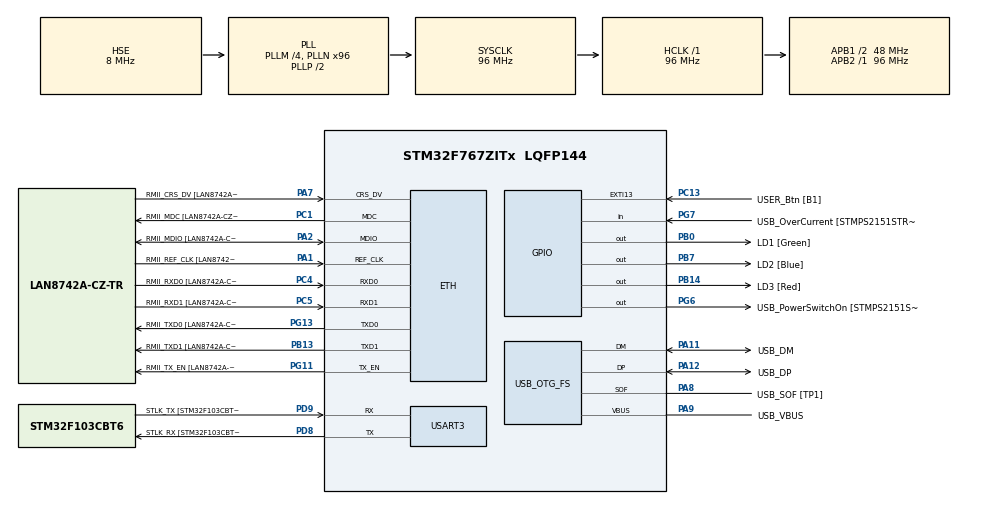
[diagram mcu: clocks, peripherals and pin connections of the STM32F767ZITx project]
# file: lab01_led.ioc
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ETH.MediaInterface=HAL_ETH_RMII_MODE
ETH.PHY_Name=LAN8742A_PHY_ADDRESS
ETH.PHY_Value=0
ETH.PhyAddress=0
Mcu.Family=STM32F7
Mcu.Name=STM32F767ZITx
Mcu.Package=LQFP144
NVIC.PriorityGroup=NVIC_PRIORITYGROUP_4
PA1.GPIO_Label=RMII_REF_CLK [LAN8742A-CZ-TR_REFCLK0]
PA1.Mode=RMII
PA1.Signal=ETH_REF_CLK
PA10.GPIO_Label=USB_ID
PA10.Signal=USB_OTG_FS_ID
PA11.GPIO_Label=USB_DM
PA11.Mode=Device_Only
PA11.Signal=USB_OTG_FS_DM
PA12.GPIO_Label=USB_DP
PA12.Mode=Device_Only
PA12.Signal=USB_OTG_FS_DP
PA13.GPIO_Label=TMS
PA13.Mode=Serial_Wire
PA13.Signal=SYS_JTMS-SWDIO
PA14.GPIO_Label=TCK
PA14.Mode=Serial_Wire
PA14.Signal=SYS_JTCK-SWCLK
PA2.GPIO_Label=RMII_MDIO [LAN8742A-CZ-TR_MDIO]
PA2.Mode=RMII
PA2.Signal=ETH_MDIO
PA7.GPIO_Label=RMII_CRS_DV [LAN8742A-CZ-TR_CRS_DV]
PA7.Mode=RMII
PA7.Signal=ETH_CRS_DV
PA8.GPIO_Label=USB_SOF [TP1]
PA8.Mode=Activate_SOF_FS
PA8.Signal=USB_OTG_FS_SOF
PA9.GPIO_Label=USB_VBUS
PA9.Mode=Activate_VBUS
PA9.Signal=USB_OTG_FS_VBUS
PB0.GPIO_Label=LD1 [Green]
PB0.Signal=GPIO_Output
PB13.GPIO_Label=RMII_TXD1 [LAN8742A-CZ-TR_TXD1]
PB13.Mode=RMII
PB13.Signal=ETH_TXD1
PB14.GPIO_Label=LD3 [Red]
PB14.Signal=GPIO_Output
PB3.GPIO_Label=SWO
PB3.Signal=SYS_JTDO-SWO
PB7.GPIO_Label=LD2 [Blue]
PB7.Signal=GPIO_Output
PC1.GPIO_Label=RMII_MDC [LAN8742A-CZ-TR_MDC]
PC1.Mode=RMII
PC1.Signal=ETH_MDC
PC13.GPIO_Label=USER_Btn [B1]
PC13.Signal=GPXTI13
PC14/OSC32_IN.Mode=LSE-External-Oscillator
PC14/OSC32_IN.Signal=RCC_OSC32_IN
PC15/OSC32_OUT.Mode=LSE-External-Oscillator
PC15/OSC32_OUT.Signal=RCC_OSC32_OUT
PC4.GPIO_Label=RMII_RXD0 [LAN8742A-CZ-TR_RXD0]
PC4.Mode=RMII
PC4.Signal=ETH_RXD0
PC5.GPIO_Label=RMII_RXD1 [LAN8742A-CZ-TR_RXD1]
PC5.Mode=RMII
PC5.Signal=ETH_RXD1
PD8.GPIO_Label=STLK_RX [STM32F103CBT6_PA3]
PD8.Mode=Asynchronous
PD8.Signal=USART3_TX
PD9.GPIO_Label=STLK_TX [STM32F103CBT6_PA2]
PD9.Mode=Asynchronous
PD9.Signal=USART3_RX
PG11.GPIO_Label=RMII_TX_EN [LAN8742A-CZ-TR_TXEN]
PG11.Mode=RMII
PG11.Signal=ETH_TX_EN
PG13.GPIO_Label=RMII_TXD0 [LAN8742A-CZ-TR_TXD0]
PG13.Mode=RMII
PG13.Signal=ETH_TXD0
PG6.GPIO_Label=USB_PowerSwitchOn [STMPS2151STR_EN]
PG6.Signal=GPIO_Output
PG7.GPIO_Label=USB_OverCurrent [STMPS2151STR_FAULT]
PG7.Signal=GPIO_Input
PH0/OSC_IN.GPIO_Label=MCO [STM32F103CBT6_PA8]
PH0/OSC_IN.Mode=HSE-External-Clock-Source
PH0/OSC_IN.Signal=RCC_OSC_IN
PH1/OSC_OUT.Mode=HSE-External-Clock-Source
PH1/OSC_OUT.Signal=RCC_OSC_OUT
ProjectManager.HeapSize=0x200
ProjectManager.StackSize=0x400
ProjectManager.TargetToolchain=STM32CubeIDE
RCC.48MHZClocksFreq_Value=24000000
RCC.AHBFreq_Value=96000000
RCC.APB1CLKDivider=RCC_HCLK_DIV2
RCC.APB1Freq_Value=48000000
RCC.APB1TimFreq_Value=96000000
RCC.APB2Freq_Value=96000000
RCC.APB2TimFreq_Value=96000000
RCC.CortexFreq_Value=96000000
RCC.HCLKFreq_Value=96000000
RCC.HSE_VALUE=8000000
RCC.HSI_VALUE=16000000
RCC.PLLM=4
RCC.PLLMUL=RCC_PLL_MUL9
RCC.PLLN=96
RCC.PLLQ=4
RCC.PRESCALERUSB=RCC_USBCLKSOURCE_PLL_DIV1_5
RCC.SYSCLKFreq_VALUE=96000000
RCC.SYSCLKSource=RCC_SYSCLKSOURCE_PLLCLK
RCC.SYSCLKSourceVirtual=RCC_SYSCLKSOURCE_PLLCLK
RCC.USBFreq_Value=48000000
RCC.VCOOutputFreq_Value=192000000
USART3.VirtualMode-Asynchronous=VM_ASYNC
USB_OTG_FS.VirtualMode=Device_Only
board=NUCLEO-F767ZI

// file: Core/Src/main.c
/* USER CODE BEGIN Header */
/**
 ******************************************************************************
 * @file           : main.c
 * @brief          : Main program body
 ******************************************************************************
 * @attention
 *
 * Copyright (c) 2023 STMicroelectronics.
 * All rights reserved.
 *
 * This software is licensed under terms that can be found in the LICENSE file
 * in the root directory of this software component.
 * If no LICENSE file comes with this software, it is provided AS-IS.
 *
 ******************************************************************************
 */
/* USER CODE END Header */
#include "main.h"
#include "string.h"

#if defined ( __ICCARM__ ) /*!< IAR Compiler */
#pragma location=0x2007c000
ETH_DMADescTypeDef  DMARxDscrTab[ETH_RX_DESC_CNT]; /* Ethernet Rx DMA Descriptors */
#pragma location=0x2007c0a0
ETH_DMADescTypeDef  DMATxDscrTab[ETH_TX_DESC_CNT]; /* Ethernet Tx DMA Descriptors */

#elif defined ( __CC_ARM )  /* MDK ARM Compiler */

__attribute__((at(0x2007c000))) ETH_DMADescTypeDef  DMARxDscrTab[ETH_RX_DESC_CNT]; /* Ethernet Rx DMA Descriptors */
__attribute__((at(0x2007c0a0))) ETH_DMADescTypeDef  DMATxDscrTab[ETH_TX_DESC_CNT]; /* Ethernet Tx DMA Descriptors */

#elif defined ( __GNUC__ ) /* GNU Compiler */
ETH_DMADescTypeDef DMARxDscrTab[ETH_RX_DESC_CNT] __attribute__((section(".RxDecripSection"))); /* Ethernet Rx DMA Descriptors */
ETH_DMADescTypeDef DMATxDscrTab[ETH_TX_DESC_CNT] __attribute__((section(".TxDecripSection"))); /* Ethernet Tx DMA Descriptors */

#endif

ETH_TxPacketConfig TxConfig;

ETH_HandleTypeDef heth;

UART_HandleTypeDef huart3;

PCD_HandleTypeDef hpcd_USB_OTG_FS;

/* USER CODE BEGIN PV */
uint8_t num = 0;
uint8_t led0 = 0;
uint8_t led1 = 0;
uint8_t led2 = 0;
/* USER CODE END PV */

void SystemClock_Config(void);
static void MX_GPIO_Init(void);
static void MX_ETH_Init(void);
static void MX_USART3_UART_Init(void);
static void MX_USB_OTG_FS_PCD_Init(void);

int main(void) {

	/* MCU Configuration--------------------------------------------------------*/

	/* Reset of all peripherals, Initializes the Flash interface and the Systick. */
	HAL_Init();

	/* Configure the system clock */
	SystemClock_Config();

	/* Initialize all configured peripherals */
	MX_GPIO_Init();
	MX_ETH_Init();
	MX_USART3_UART_Init();
	MX_USB_OTG_FS_PCD_Init();

	/* Infinite loop */
	while (1) {

		/* USER CODE BEGIN 3 */
//	  HAL_GPIO_WritePin(GPIOB, GPIO_PIN_0, GPIO_PIN_SET);
//	  led0 = 1;
//	  HAL_Delay(500);
//	  HAL_GPIO_WritePin(GPIOB, GPIO_PIN_0, GPIO_PIN_RESET);
//	  led0 = 0;
//	  HAL_Delay(500);
//
//	  num++;
//	  if (num > 7){
//		  num = 0;
//	  }
		if (led1 && led0) {
			if (led2) {
				led2 = 0;
			} else {
				led2 = 1;
			}
		}
		if (led0) {
			if (led1) {
				led1 = 0;
			} else {
				led1 = 1;
			}
		}
		if (led0) {
			led0 = 0;
		} else {
			led0 = 1;
		}
		num = led2 * 4 + led1 * 2 + led0;
		HAL_GPIO_WritePin(GPIOB, GPIO_PIN_14, led0);
		HAL_GPIO_WritePin(GPIOB, GPIO_PIN_7, led1);
		HAL_GPIO_WritePin(GPIOB, GPIO_PIN_0, led2);
		HAL_Delay(1000);
	}
	/* USER CODE END 3 */
}

void SystemClock_Config(void) {
	RCC_OscInitTypeDef RCC_OscInitStruct = { 0 };
	RCC_ClkInitTypeDef RCC_ClkInitStruct = { 0 };

	/** Configure LSE Drive Capability
	 */
	HAL_PWR_EnableBkUpAccess();

	/** Configure the main internal regulator output voltage
	 */
	__HAL_RCC_PWR_CLK_ENABLE();
	__HAL_PWR_VOLTAGESCALING_CONFIG(PWR_REGULATOR_VOLTAGE_SCALE3);

	/** Initializes the RCC Oscillators according to the specified parameters
	 * in the RCC_OscInitTypeDef structure.
	 */
	RCC_OscInitStruct.OscillatorType = RCC_OSCILLATORTYPE_HSE;
	RCC_OscInitStruct.HSEState = RCC_HSE_BYPASS;
	RCC_OscInitStruct.PLL.PLLState = RCC_PLL_ON;
	RCC_OscInitStruct.PLL.PLLSource = RCC_PLLSOURCE_HSE;
	RCC_OscInitStruct.PLL.PLLM = 4;
	RCC_OscInitStruct.PLL.PLLN = 96;
	RCC_OscInitStruct.PLL.PLLP = RCC_PLLP_DIV2;
	RCC_OscInitStruct.PLL.PLLQ = 4;
	RCC_OscInitStruct.PLL.PLLR = 2;
	if (HAL_RCC_OscConfig(&RCC_OscInitStruct) != HAL_OK) {
		Error_Handler();
	}

	/** Activate the Over-Drive mode
	 */
	if (HAL_PWREx_EnableOverDrive() != HAL_OK) {
		Error_Handler();
	}

	/** Initializes the CPU, AHB and APB buses clocks
	 */
	RCC_ClkInitStruct.ClockType = RCC_CLOCKTYPE_HCLK | RCC_CLOCKTYPE_SYSCLK
			| RCC_CLOCKTYPE_PCLK1 | RCC_CLOCKTYPE_PCLK2;
	RCC_ClkInitStruct.SYSCLKSource = RCC_SYSCLKSOURCE_PLLCLK;
	RCC_ClkInitStruct.AHBCLKDivider = RCC_SYSCLK_DIV1;
	RCC_ClkInitStruct.APB1CLKDivider = RCC_HCLK_DIV2;
	RCC_ClkInitStruct.APB2CLKDivider = RCC_HCLK_DIV1;

	if (HAL_RCC_ClockConfig(&RCC_ClkInitStruct, FLASH_LATENCY_3) != HAL_OK) {
		Error_Handler();
	}
}

static void MX_ETH_Init(void) {

	static uint8_t MACAddr[6];

	heth.Instance = ETH;
	MACAddr[0] = 0x00;
	MACAddr[1] = 0x80;
	MACAddr[2] = 0xE1;
	MACAddr[3] = 0x00;
	MACAddr[4] = 0x00;
	MACAddr[5] = 0x00;
	heth.Init.MACAddr = &MACAddr[0];
	heth.Init.MediaInterface = HAL_ETH_RMII_MODE;
	heth.Init.TxDesc = DMATxDscrTab;
	heth.Init.RxDesc = DMARxDscrTab;
	heth.Init.RxBuffLen = 1524;

	if (HAL_ETH_Init(&heth) != HAL_OK) {
		Error_Handler();
	}

	memset(&TxConfig, 0, sizeof(ETH_TxPacketConfig));
	TxConfig.Attributes = ETH_TX_PACKETS_FEATURES_CSUM
			| ETH_TX_PACKETS_FEATURES_CRCPAD;
	TxConfig.ChecksumCtrl = ETH_CHECKSUM_IPHDR_PAYLOAD_INSERT_PHDR_CALC;
	TxConfig.CRCPadCtrl = ETH_CRC_PAD_INSERT;

}

static void MX_USART3_UART_Init(void) {

	huart3.Instance = USART3;
	huart3.Init.BaudRate = 115200;
	huart3.Init.WordLength = UART_WORDLENGTH_8B;
	huart3.Init.StopBits = UART_STOPBITS_1;
	huart3.Init.Parity = UART_PARITY_NONE;
	huart3.Init.Mode = UART_MODE_TX_RX;
	huart3.Init.HwFlowCtl = UART_HWCONTROL_NONE;
	huart3.Init.OverSampling = UART_OVERSAMPLING_16;
	huart3.Init.OneBitSampling = UART_ONE_BIT_SAMPLE_DISABLE;
	huart3.AdvancedInit.AdvFeatureInit = UART_ADVFEATURE_NO_INIT;
	if (HAL_UART_Init(&huart3) != HAL_OK) {
		Error_Handler();
	}

}

static void MX_USB_OTG_FS_PCD_Init(void) {

	hpcd_USB_OTG_FS.Instance = USB_OTG_FS;
	hpcd_USB_OTG_FS.Init.dev_endpoints = 6;
	hpcd_USB_OTG_FS.Init.speed = PCD_SPEED_FULL;
	hpcd_USB_OTG_FS.Init.dma_enable = DISABLE;
	hpcd_USB_OTG_FS.Init.phy_itface = PCD_PHY_EMBEDDED;
	hpcd_USB_OTG_FS.Init.Sof_enable = ENABLE;
	hpcd_USB_OTG_FS.Init.low_power_enable = DISABLE;
	hpcd_USB_OTG_FS.Init.lpm_enable = DISABLE;
	hpcd_USB_OTG_FS.Init.vbus_sensing_enable = ENABLE;
	hpcd_USB_OTG_FS.Init.use_dedicated_ep1 = DISABLE;
	if (HAL_PCD_Init(&hpcd_USB_OTG_FS) != HAL_OK) {
		Error_Handler();
	}

}

static void MX_GPIO_Init(void) {
	GPIO_InitTypeDef GPIO_InitStruct = { 0 };

	/* GPIO Ports Clock Enable */
	__HAL_RCC_GPIOC_CLK_ENABLE();
	__HAL_RCC_GPIOH_CLK_ENABLE();
	__HAL_RCC_GPIOA_CLK_ENABLE();
	__HAL_RCC_GPIOB_CLK_ENABLE();
	__HAL_RCC_GPIOD_CLK_ENABLE();
	__HAL_RCC_GPIOG_CLK_ENABLE();

	/*Configure GPIO pin Output Level */
	HAL_GPIO_WritePin(GPIOB, LD1_Pin | LD3_Pin | LD2_Pin, GPIO_PIN_RESET);

	/*Configure GPIO pin Output Level */
	HAL_GPIO_WritePin(USB_PowerSwitchOn_GPIO_Port, USB_PowerSwitchOn_Pin,
			GPIO_PIN_RESET);

	/*Configure GPIO pin : USER_Btn_Pin */
	GPIO_InitStruct.Pin = USER_Btn_Pin;
	GPIO_InitStruct.Mode = GPIO_MODE_IT_RISING;
	GPIO_InitStruct.Pull = GPIO_NOPULL;
	HAL_GPIO_Init(USER_Btn_GPIO_Port, &GPIO_InitStruct);

	/*Configure GPIO pins : LD1_Pin LD3_Pin LD2_Pin */
	GPIO_InitStruct.Pin = LD1_Pin | LD3_Pin | LD2_Pin;
	GPIO_InitStruct.Mode = GPIO_MODE_OUTPUT_PP;
	GPIO_InitStruct.Pull = GPIO_NOPULL;
	GPIO_InitStruct.Speed = GPIO_SPEED_FREQ_LOW;
	HAL_GPIO_Init(GPIOB, &GPIO_InitStruct);

	/*Configure GPIO pin : USB_PowerSwitchOn_Pin */
	GPIO_InitStruct.Pin = USB_PowerSwitchOn_Pin;
	GPIO_InitStruct.Mode = GPIO_MODE_OUTPUT_PP;
	GPIO_InitStruct.Pull = GPIO_NOPULL;
	GPIO_InitStruct.Speed = GPIO_SPEED_FREQ_LOW;
	HAL_GPIO_Init(USB_PowerSwitchOn_GPIO_Port, &GPIO_InitStruct);

	/*Configure GPIO pin : USB_OverCurrent_Pin */
	GPIO_InitStruct.Pin = USB_OverCurrent_Pin;
	GPIO_InitStruct.Mode = GPIO_MODE_INPUT;
	GPIO_InitStruct.Pull = GPIO_NOPULL;
	HAL_GPIO_Init(USB_OverCurrent_GPIO_Port, &GPIO_InitStruct);

}

void Error_Handler(void) {
	__disable_irq();
	while (1) {
	}
}
